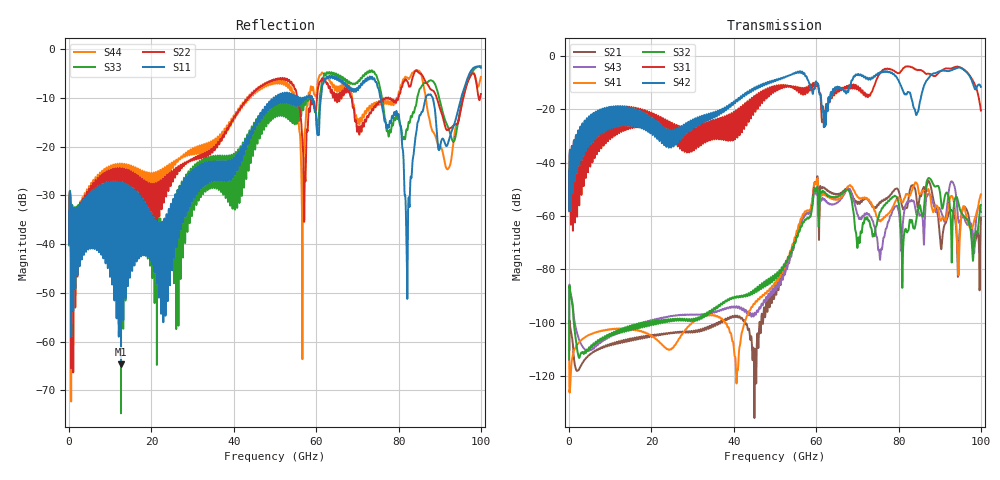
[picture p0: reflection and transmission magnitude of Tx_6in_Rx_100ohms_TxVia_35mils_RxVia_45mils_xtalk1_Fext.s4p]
! Info: Touchstone file created by Circ.  Input file=Tx_6in_Rx_100ohms_TxVia_35mils_RxVia_45mils.circ
# Hz S RI R 50
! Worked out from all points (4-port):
!   10000 points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, 10 MHz to 100 GHz, reference 50 ohm
!   strongest paths, dB at 10 MHz, 25.01 GHz, 50.01 GHz, 75.01 GHz, 100 GHz:
!     S42: -57.7, -28.0, -9.3, -6.6, -11.7
!     S31: -58.2, -25.2, -12.7, -7.7, -20.5
!     S32: -113.7, -99.3, -82.0, -60.7, -55.9
!     S41: -101.0, -109.5, -85.2, -61.2, -51.9
!     S43: -109.8, -97.5, -86.2, -71.9, -58.5
!     S21: -103.7, -103.9, -86.6, -55.9, -60.6
!   lowest |S11| = -64.6 dB at 12.62 GHz (marker M1), VSWR 1.00, Z = 50.1 + j1.01e-05 ohm
!   |S11| at or under -10 dB: start of sweep to 49.66 GHz; 75.64 GHz to 86.59 GHz (10.96 GHz wide, 13.5 % of centre); 88.3 GHz to 95.2 GHz (6.902 GHz wide, 7.52 % of centre)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
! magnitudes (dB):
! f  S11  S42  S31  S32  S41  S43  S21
! 10 MHz  -40.1  -57.7  -58.2  -113.7  -101.0  -109.8  -103.7
! 12.62 GHz  -64.6  -24.1  -25.5  -102.5  -102.1  -102.8  -106.7
! 59.9 GHz  -12.8  -9.8  -10.1  -50.5  -48.1  -51.0  -47.8
! 73.33 GHz  -6.1  -8.4  -13.8  -64.4  -54.9  -60.4  -55.4
! 82.22 GHz  -40.3  -13.6  -3.9  -65.7  -51.7  -54.6  -55.8
! 94.55 GHz  -12.2  -4.4  -4.1  -55.3  -82.1  -62.0  -75.1
! 100 GHz  -3.8  -11.7  -20.5  -55.9  -51.9  -58.5  -60.6
